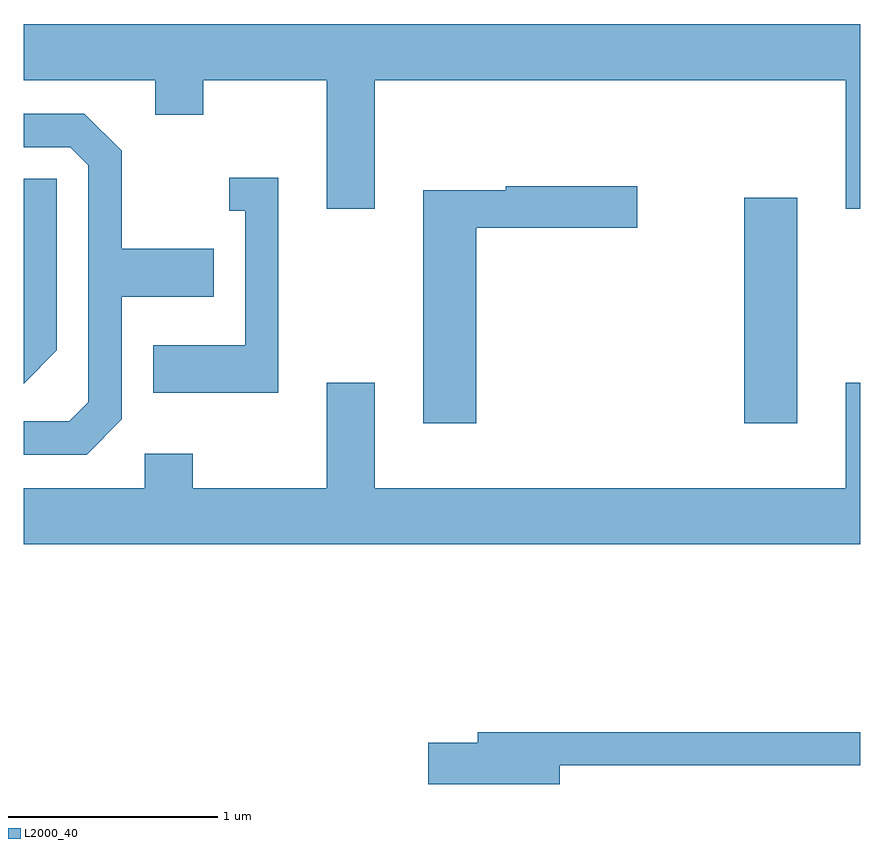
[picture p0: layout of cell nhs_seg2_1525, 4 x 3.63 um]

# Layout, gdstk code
import gdstk
lib = gdstk.Library(unit=1e-6, precision=1e-09)
def R(c, l, rs):  # rectangles x0, y0, x1, y1
    for r in rs: c.add(gdstk.rectangle(r[:2], r[2:], *l))
def P(c, l, *ps):  # polygons
    for p in ps: c.add(gdstk.Polygon(p, *l))
L2000_40 = (2000, 40)

nhs_seg2_1525 = lib.new_cell('nhs_seg2_1525')
R(nhs_seg2_1525, L2000_40, [(233.056,1037.796,233.309,1038.874)])
P(nhs_seg2_1525, L2000_40, [(231.289,1039.436),(233.541,1039.436),(233.541,1038.821),(233.611,1038.821),(233.611,1039.704),(229.611,1039.704),(229.611,1039.436),(230.241,1039.436),(230.241,1039.271),(230.469,1039.271),(230.469,1039.436),(231.061,1039.436),(231.061,1038.821),(231.289,1038.821)],
  [(230.079,1037.814),(230.079,1038.401),(230.519,1038.401),(230.519,1038.629),(230.079,1038.629),(230.079,1039.097),(229.902,1039.274),(229.611,1039.274),(229.611,1039.116),(229.834,1039.116),(229.921,1039.029),(229.921,1037.897),(229.829,1037.804),(229.611,1037.804),(229.611,1037.646),(229.912,1037.646)],
  [(230.829,1038.969),(230.593,1038.969),(230.593,1038.811),(230.671,1038.811),(230.671,1038.169),(230.231,1038.169),(230.231,1037.941),(230.829,1037.941)],
  [(229.769,1038.144),(229.769,1038.964),(229.611,1038.964),(229.611,1037.985)],
  [(231.774,1038.731),(232.544,1038.731),(232.544,1038.929),(231.916,1038.929),(231.916,1038.909),(231.521,1038.909),(231.521,1037.796),(231.774,1037.796)],
  [(233.611,1037.989),(233.541,1037.989),(233.541,1037.484),(231.289,1037.484),(231.289,1037.989),(231.061,1037.989),(231.061,1037.484),(230.419,1037.484),(230.419,1037.649),(230.191,1037.649),(230.191,1037.484),(229.611,1037.484),(229.611,1037.216),(233.611,1037.216)],
  [(232.174,1036.161),(233.611,1036.161),(233.611,1036.319),(231.781,1036.319),(231.781,1036.269),(231.546,1036.269),(231.546,1036.071),(232.174,1036.071)])

lib.write_gds('nhs_seg2_1525.gds')
